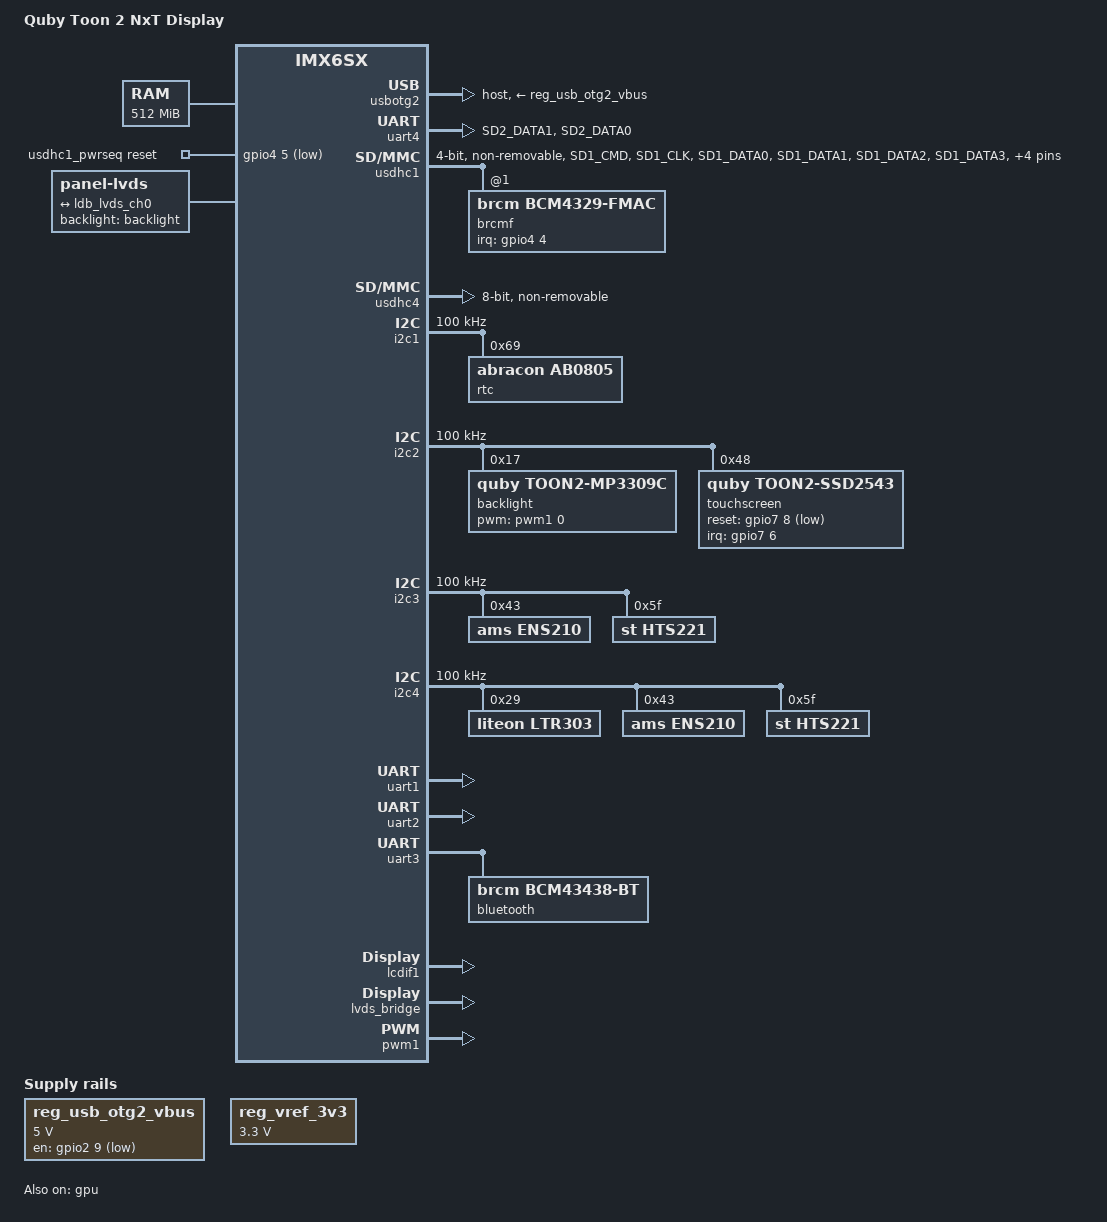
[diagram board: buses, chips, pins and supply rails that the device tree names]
// SPDX-License-Identifier: GPL-2.0 OR MIT
/*
 * Board DTS for the Quby "Toon 2 NxT Display" (i.MX6 SoloX), written for
 * ReToon from the hardware: no .dts source was ever published for this
 * hardware generation. Touch (Solomon SSD2543) has its own driver (patch
 * 0003).
 */

/dts-v1/;

#include "imx6sx.dtsi"

/ {
	model = "Quby Toon 2 NxT Display";
	compatible = "quby,nxt-display", "fsl,imx6sx";

	chosen {
		stdout-path = &uart4;
	};

	memory@80000000 {
		device_type = "memory";
		reg = <0x80000000 0x20000000>;
	};

	usdhc1_pwrseq: usdhc1_pwrseq {
		compatible = "mmc-pwrseq-simple";
		/* GPIO4_IO5, active-low: the WiFi module's reset */
		reset-gpios = <&gpio4 5 GPIO_ACTIVE_LOW>;
	};

	/* 5 V of the USB-A socket (GPIO2_IO9, active low) */
	reg_usb_otg2_vbus: regulator-usb-otg2-vbus {
		compatible = "regulator-fixed";
		regulator-name = "usb_otg2_vbus";
		regulator-min-microvolt = <5000000>;
		regulator-max-microvolt = <5000000>;
		pinctrl-names = "default";
		pinctrl-0 = <&pinctrl_usb_otg2_vbus>;
		gpio = <&gpio2 9 GPIO_ACTIVE_LOW>;
	};

	reg_vref_3v3: regulator-vref-3v3 {
		compatible = "regulator-fixed";
		regulator-name = "vref-3v3";
		regulator-min-microvolt = <3300000>;
		regulator-max-microvolt = <3300000>;
	};
};

/* the USB-A socket, as a host port */
&usbotg2 {
	vbus-supply = <&reg_usb_otg2_vbus>;
	dr_mode = "host";
	disable-over-current;
	status = "okay";
};

&uart4 {
	pinctrl-names = "default";
	pinctrl-0 = <&pinctrl_uart4>;
	status = "okay";
};

&usdhc1 {
	pinctrl-names = "default", "state_100mhz", "state_200mhz";
	pinctrl-0 = <&pinctrl_usdhc1>;
	pinctrl-1 = <&pinctrl_usdhc1_100mhz>;
	pinctrl-2 = <&pinctrl_usdhc1_200mhz>;
	bus-width = <4>;
	no-1-8-v;
	non-removable;
	cap-power-off-card;
	pm-ignore-notify;
	wifi-host;
	mmc-pwrseq = <&usdhc1_pwrseq>;
	status = "okay";

	#address-cells = <1>;
	#size-cells = <0>;
	brcmf: bcrmf@1 {
		reg = <1>;
		compatible = "brcm,bcm4329-fmac";
		/* host-wake = GPIO4_IO4 (NAND_DATA00), level high. (IO2 gave a 30k irq/s storm.) */
		interrupt-parent = <&gpio4>;
		interrupts = <4 4>; /* IRQ_TYPE_LEVEL_HIGH */
		interrupt-names = "host-wake";
	};
};

/* eMMC on usdhc4 (0x0219c000), mmcblk3 in the original system. Needed so
 * ReToon can see the eMMC (p1 to remove boot.scr, p3 for logs, p4 for its
 * own files). Settings and pinmux as the board is wired. */
&usdhc4 {
	pinctrl-names = "default";
	pinctrl-0 = <&pinctrl_usdhc4>;
	bus-width = <8>;
	non-removable;
	cap-mmc-highspeed;
	mmc-ddr-1_8v;
	max-frequency = <50000000>;
	status = "okay";
};

/* i2c buses + sensors. hts221 has a mainline driver
 * (st,hts221); ens210/ltr303 have no mainline driver yet so they bind nothing but
 * are reachable via /dev/i2c-N (i2c-dev). PMIC(pfuze) omitted for now. */
&i2c1 {
	clock-frequency = <100000>;
	pinctrl-names = "default";
	pinctrl-0 = <&pinctrl_i2c1>;
	status = "okay";

	rtc@69 {
		compatible = "abracon,ab0805"; /* Ambiq AM0805, abx80x-compatible */
		reg = <0x69>;
	};
};

&i2c2 {
	clock-frequency = <100000>;
	pinctrl-names = "default";
	pinctrl-0 = <&pinctrl_i2c2>;
	status = "okay";

	/* LED current level 25/31 and a 1 ms PWM period, as the panel is driven on the Toon */
	backlight: backlight@17 {
		compatible = "quby,toon2-mp3309c";
		reg = <0x17>;
		pinctrl-names = "default";
		pinctrl-0 = <&pinctrl_pwm1>;
		pwms = <&pwm1 0 1000000 0>;
		default-brightness = <80>;
		quby,led-current-level = <25>;
	};

	/* The controller's axes are swapped against the panel: its first
	 * coordinate runs top to bottom (0..600), the second left to right. */
	touchscreen@48 {
		compatible = "quby,toon2-ssd2543";
		reg = <0x48>;
		interrupt-parent = <&gpio7>;
		interrupts = <6 IRQ_TYPE_LEVEL_LOW>;
		reset-gpios = <&gpio7 8 GPIO_ACTIVE_LOW>;
		touchscreen-size-x = <600>;
		touchscreen-size-y = <1024>;
		touchscreen-swapped-x-y;
	};
};

&i2c3 {
	clock-frequency = <100000>;
	pinctrl-names = "default";
	pinctrl-0 = <&pinctrl_i2c3>;
	status = "okay";

	/* some Toon 2 versions have an HTS221 instead of an ENS210; both
	 * are listed, the one not fitted does not bind */
	ens210@43 { compatible = "ams,ens210"; reg = <0x43>; };
	hts221@5f { compatible = "st,hts221"; reg = <0x5f>; };
};

&i2c4 {
	clock-frequency = <100000>;
	pinctrl-names = "default";
	pinctrl-0 = <&pinctrl_i2c4>;
	status = "okay";

	ltr303@29 { compatible = "liteon,ltr303"; reg = <0x29>; };
	ens210@43 { compatible = "ams,ens210"; reg = <0x43>; };
	hts221@5f { compatible = "st,hts221"; reg = <0x5f>; };
};

&uart1 {
	pinctrl-names = "default";
	pinctrl-0 = <&pinctrl_uart1>;
	status = "okay";
};

&uart2 {
	pinctrl-names = "default";
	pinctrl-0 = <&pinctrl_uart2>;
	status = "okay";
};

&uart3 {
	pinctrl-names = "default";
	pinctrl-0 = <&pinctrl_uart3>;
	fsl,uart-has-rtscts;
	status = "okay";

	/* BT half of the BCM43430 combo; it answers HCI at 115200 without
	 * any enable GPIO, so none is described. */
	bluetooth {
		compatible = "brcm,bcm43438-bt";
	};
};

/* ADC1 (ultrasonic receiver) and ADC2 (VOC) belong to the Cortex-M4 (see the
 * cm4 node): the firmware configures and calibrates them itself. */
&adc1 {
	vref-supply = <&reg_vref_3v3>;
	status = "disabled";
};

/* CCS801 VOC sensor: sensed on ADC2 channel 0, driven by PWM5 (27.5 kHz, 18 %)
 * with GPIO5_IO18 strobed low around each sample; the Cortex-M4 does this
 * (toon-m4). */
&adc2 {
	vref-supply = <&reg_vref_3v3>;
	status = "disabled";
};

/* PWM5 (VOC heater) is driven by the M4 as well; it muxes the pads itself. */
&pwm5 {
	pinctrl-names = "default";
	pinctrl-0 = <&pinctrl_voc>;
	status = "disabled";
};

/* Display: mainline DRM path. LCDIF1 -> fsl-ldb bridge (gpr bridge@18) -> LVDS panel.
 * Rocktech RK070FU13A 1024x600 timings. Backlight = MP3309 @ i2c2 0x17,
 * dimmed by PWM1 on RGMII2_RD3 (see the backlight node under &i2c2; the chip forgets
 * its i2c registers when that pin is low for 20 ms, so the driver rewrites them).
 * LCD_EN/RESETn/STDBYn (gpio7 7/3/9) are left as U-Boot set them. The LDB input mux (GPR5) is forced to LCDIF1 by a fsl-ldb patch. */
&lcdif1 {
	/* Clocking: LVDS serial = pll2_pfd0 352 MHz,
	 * ldb_di0 = 352/7 = 50.29 MHz, and LCDIF pixel clock taken FROM ldb_di0 so
	 * pixel + LVDS clocks are locked together. */
	assigned-clocks = <&clks IMX6SX_CLK_LDB_DI0_SEL>, <&clks IMX6SX_CLK_LCDIF1_SEL>;
	assigned-clock-parents = <&clks IMX6SX_CLK_PLL2_PFD0>, <&clks IMX6SX_CLK_LDB_DI0>;
	status = "okay";
};
&lcdif1_to_ldb { remote-endpoint = <&ldb_from_lcdif1>; };
&lvds_bridge { status = "okay"; };
&ldb_from_lcdif1 { remote-endpoint = <&lcdif1_to_ldb>; };
&ldb_lvds_ch0 { remote-endpoint = <&panel_in>; };

/ {
	panel {
		compatible = "panel-lvds";
		backlight = <&backlight>;
		width-mm = <154>;
		height-mm = <86>;
		data-mapping = "vesa-24";
		panel-timing {
			clock-frequency = <51200000>;
			hactive = <1024>;
			vactive = <600>;
			hback-porch = <40>;
			hfront-porch = <220>;
			hsync-len = <60>;
			vback-porch = <17>;
			vfront-porch = <7>;
			vsync-len = <10>;
		};
		port {
			panel_in: endpoint {
				remote-endpoint = <&ldb_lvds_ch0>;
			};
		};
	};
};

&pwm1 {
	status = "okay";
};

/* Buzzer on PWM4 (RGMII2_RD0): driven by the Cortex-M4 as a DAC for
 * toon-sound (firmware 2.4, CTRL_SND_EN), so Linux leaves PWM4 alone. The
 * M4 sets the pad itself; pinctrl_pwm4 below documents it. */
&pwm4 {
	status = "disabled";
};

&iomuxc {
	imx6sx-toon2 {
		pinctrl_voc: vocgrp {
			fsl,pins = <
				MX6SX_PAD_RGMII2_TD3__PWM5_OUT		0x110f1
				MX6SX_PAD_RGMII2_TD0__GPIO5_IO_18	0x17059
			>;
		};

		pinctrl_pwm4: pwm4grp {
			fsl,pins = <
				MX6SX_PAD_RGMII2_RD0__PWM4_OUT		0x13058
			>;
		};

		pinctrl_pwm1: pwm1grp {
			fsl,pins = <
				MX6SX_PAD_RGMII2_RD3__PWM1_OUT		0x11050
			>;
		};

		pinctrl_usb_otg2_vbus: usbotg2vbusgrp {
			fsl,pins = <
				MX6SX_PAD_ENET2_TX_CLK__GPIO2_IO_9	0x13059
			>;
		};

		pinctrl_uart4: uart4grp {
			fsl,pins = <
				MX6SX_PAD_SD2_DATA1__UART4_DCE_TX	0x1b0b1
				MX6SX_PAD_SD2_DATA0__UART4_DCE_RX	0x1b0b1
			>;
		};

		pinctrl_usdhc1: usdhc1grp {
			fsl,pins = <
				MX6SX_PAD_SD1_CMD__USDHC1_CMD		0x17058
				MX6SX_PAD_SD1_CLK__USDHC1_CLK		0x10058
				MX6SX_PAD_SD1_DATA0__USDHC1_DATA0	0x17058
				MX6SX_PAD_SD1_DATA1__USDHC1_DATA1	0x17058
				MX6SX_PAD_SD1_DATA2__USDHC1_DATA2	0x17058
				MX6SX_PAD_SD1_DATA3__USDHC1_DATA3	0x17058
				MX6SX_PAD_NAND_DATA00__GPIO4_IO_4	0x13058
				MX6SX_PAD_NAND_DATA01__GPIO4_IO_5	0x17058
				MX6SX_PAD_NAND_CE1_B__GPIO4_IO_2	0x17058
				MX6SX_PAD_CSI_MCLK__ANATOP_32K_OUT	0x10058
			>;
		};

		pinctrl_usdhc1_100mhz: usdhc1grp-100mhz {
			fsl,pins = <
				MX6SX_PAD_SD1_CMD__USDHC1_CMD		0x17098
				MX6SX_PAD_SD1_CLK__USDHC1_CLK		0x10098
				MX6SX_PAD_SD1_DATA0__USDHC1_DATA0	0x17098
				MX6SX_PAD_SD1_DATA1__USDHC1_DATA1	0x17098
				MX6SX_PAD_SD1_DATA2__USDHC1_DATA2	0x17098
				MX6SX_PAD_SD1_DATA3__USDHC1_DATA3	0x17098
			>;
		};

		pinctrl_usdhc1_200mhz: usdhc1grp-200mhz {
			fsl,pins = <
				MX6SX_PAD_SD1_CMD__USDHC1_CMD		0x170d9
				MX6SX_PAD_SD1_CLK__USDHC1_CLK		0x100d9
				MX6SX_PAD_SD1_DATA0__USDHC1_DATA0	0x170d9
				MX6SX_PAD_SD1_DATA1__USDHC1_DATA1	0x170d9
				MX6SX_PAD_SD1_DATA2__USDHC1_DATA2	0x170d9
				MX6SX_PAD_SD1_DATA3__USDHC1_DATA3	0x170d9
			>;
		};

			/* eMMC 8-bit on usdhc4: raw tuples <mux conf input mux_mode input_val config> */
			pinctrl_usdhc4: usdhc4grp {
				fsl,pins = <
					0x27c 0x5c4 0x000 0x0 0x0 0x17018
					0x278 0x5c0 0x000 0x0 0x0 0x10018
					0x280 0x5c8 0x000 0x0 0x0 0x17018
					0x284 0x5cc 0x000 0x0 0x0 0x17018
					0x288 0x5d0 0x000 0x0 0x0 0x17018
					0x28c 0x5d4 0x000 0x0 0x0 0x17018
					0x290 0x5d8 0x000 0x0 0x0 0x17018
					0x294 0x5dc 0x000 0x0 0x0 0x17018
					0x298 0x5e0 0x000 0x0 0x0 0x17018
					0x29c 0x5e4 0x000 0x0 0x0 0x17018
					0x2a0 0x5e8 0x000 0x0 0x0 0x10018
				>;
			};

			pinctrl_i2c1: i2c1grp {
				fsl,pins = <
					0x18 0x360 0x7ac 0x0 0x1 0x4001b889
					0x14 0x35c 0x7a8 0x0 0x1 0x4001b889
				>;
			};

			pinctrl_i2c2: i2c2grp {
				fsl,pins = <
					0x20 0x368 0x7b4 0x0 0x1 0x4001b889
					0x1c 0x364 0x7b0 0x0 0x1 0x4001b889
					/* touch irq (GPIO7_IO6) and reset (GPIO7_IO8) */
					0x268 0x5b0 0x000 0x5 0x0 0x10859
					0x270 0x5b8 0x000 0x5 0x0 0x10859
				>;
			};

			pinctrl_i2c3: i2c3grp {
				fsl,pins = <
					0xc8 0x410 0x7bc 0x2 0x2 0x4001b889
					0xb4 0x3fc 0x7b8 0x2 0x2 0x4001b889
				>;
			};

			pinctrl_i2c4: i2c4grp {
				fsl,pins = <
					0x68 0x3b0 0x7c4 0x2 0x2 0x4001b889
					0x64 0x3ac 0x7c0 0x2 0x2 0x4001b889
				>;
			};

			pinctrl_uart1: uart1grp { /* boiler, edge_uart */
				fsl,pins = <
					0x24 0x36c 0x000 0x0 0x0 0x1b098
					0x28 0x370 0x830 0x0 0x1 0x1b098
				>;
			};

			pinctrl_uart2: uart2grp { /* Z-Wave, zwave_uart */
				fsl,pins = <
					0x2c 0x374 0x000 0x0 0x0 0x1b098
					0x30 0x378 0x838 0x0 0x1 0x1b098
				>;
			};

			pinctrl_uart3: uart3grp { /* Bluetooth, wifi-bt_uart (rtscts) */
				fsl,pins = <
					0x1b4 0x4fc 0x840 0x1 0x4 0x1b098
					0x1b8 0x500 0x000 0x1 0x0 0x1b098
					0x1a0 0x4e8 0x000 0x1 0x0 0x1b098
					0x1a4 0x4ec 0x83c 0x1 0x5 0x1b098
				>;
			};
	};
};

/* Cortex-M4 sensor co-processor (package toon-m4): the kernel's remoteproc
 * loads /lib/firmware/toon2-m4.elf into the TCM and holds the M4 clock chain
 * (pll3_pfd3 -> m4), which nothing else keeps alive. Started by S45toon-m4,
 * not at boot (no fsl,auto-boot). The firmware runs the ultrasonic approach
 * detector (PWM2 40 kHz on RGMII2_RD2, enable on GPIO5_IO16/17, receiver on
 * ADC1 ch0) and the VOC sampling (see &pwm5). */
/ {
	cm4: imx6sx-cm4 {
		compatible = "fsl,imx6sx-cm4";
		clocks = <&clks IMX6SX_CLK_M4>;
		syscon = <&src>;
	};
};

/* PWM2 (ultrasonic transmit): driven by the M4, which muxes the pad itself and
 * gates the transmit by switching it between PWM2_OUT and GPIO. */
&pwm2 {
	pinctrl-names = "default";
	pinctrl-0 = <&pinctrl_us>;
	status = "disabled";
};

&iomuxc {
	imx6sx-toon2 {
		pinctrl_us: usgrp {
			fsl,pins = <
				MX6SX_PAD_RGMII2_RD2__PWM2_OUT		0x11058
				MX6SX_PAD_RGMII2_RX_CTL__GPIO5_IO_16	0x17059
				MX6SX_PAD_RGMII2_RXC__GPIO5_IO_17	0x17059
			>;
		};
	};
};

/* imx_rproc reaches the SRC (M4 reset/enable bits) through a syscon regmap;
 * mainline's i.MX6SX src node is not declared as one. */
&src {
	compatible = "fsl,imx6sx-src", "fsl,imx51-src", "syscon";
};

/* GPU for the open etnaviv driver; the gpu3d node is NXP's galcore binding */
&gpu3d {
	status = "disabled";
};

&gpu {
	status = "okay";
};
